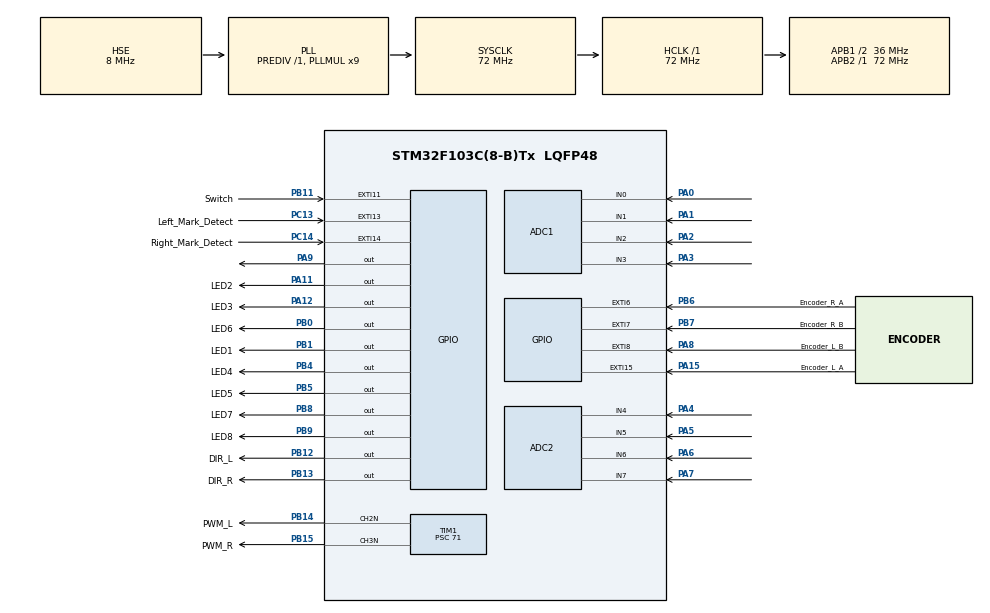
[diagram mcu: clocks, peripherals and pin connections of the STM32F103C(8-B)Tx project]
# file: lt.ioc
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ADC1.Channel-2\#ChannelRegularConversion=ADC_CHANNEL_0
ADC1.Channel-3\#ChannelRegularConversion=ADC_CHANNEL_1
ADC1.Channel-4\#ChannelRegularConversion=ADC_CHANNEL_2
ADC1.Channel-5\#ChannelRegularConversion=ADC_CHANNEL_3
ADC1.ContinuousConvMode=ENABLE
ADC1.InjNumberOfConversion=0
ADC1.Mode=ADC_DUALMODE_REGSIMULT
ADC1.NbrOfConversion=4
ADC1.NbrOfConversionFlag=1
ADC1.Rank-2\#ChannelRegularConversion=1
ADC1.Rank-3\#ChannelRegularConversion=2
ADC1.Rank-4\#ChannelRegularConversion=3
ADC1.Rank-5\#ChannelRegularConversion=4
ADC1.SamplingTime-2\#ChannelRegularConversion=ADC_SAMPLETIME_1CYCLE_5
ADC1.SamplingTime-3\#ChannelRegularConversion=ADC_SAMPLETIME_1CYCLE_5
ADC1.SamplingTime-4\#ChannelRegularConversion=ADC_SAMPLETIME_1CYCLE_5
ADC1.SamplingTime-5\#ChannelRegularConversion=ADC_SAMPLETIME_1CYCLE_5
ADC1.master=1
ADC2.Channel-4\#ChannelRegularConversion=ADC_CHANNEL_4
ADC2.Channel-5\#ChannelRegularConversion=ADC_CHANNEL_5
ADC2.Channel-6\#ChannelRegularConversion=ADC_CHANNEL_6
ADC2.Channel-7\#ChannelRegularConversion=ADC_CHANNEL_7
ADC2.ContinuousConvMode=ENABLE
ADC2.Mode=ADC_DUALMODE_REGSIMULT
ADC2.NbrOfConversion=4
ADC2.NbrOfConversionFlag=1
ADC2.Rank-4\#ChannelRegularConversion=1
ADC2.Rank-5\#ChannelRegularConversion=2
ADC2.Rank-6\#ChannelRegularConversion=3
ADC2.Rank-7\#ChannelRegularConversion=4
ADC2.SamplingTime-4\#ChannelRegularConversion=ADC_SAMPLETIME_1CYCLE_5
ADC2.SamplingTime-5\#ChannelRegularConversion=ADC_SAMPLETIME_1CYCLE_5
ADC2.SamplingTime-6\#ChannelRegularConversion=ADC_SAMPLETIME_1CYCLE_5
ADC2.SamplingTime-7\#ChannelRegularConversion=ADC_SAMPLETIME_1CYCLE_5
Dma.ADC1.0.Direction=DMA_PERIPH_TO_MEMORY
Dma.ADC1.0.Instance=DMA1_Channel1
Dma.ADC1.0.MemDataAlignment=DMA_MDATAALIGN_WORD
Dma.ADC1.0.MemInc=DMA_MINC_ENABLE
Dma.ADC1.0.Mode=DMA_CIRCULAR
Dma.ADC1.0.PeriphDataAlignment=DMA_PDATAALIGN_WORD
Dma.ADC1.0.PeriphInc=DMA_PINC_DISABLE
Dma.ADC1.0.Priority=DMA_PRIORITY_HIGH
Dma.Request0=ADC1
Mcu.Family=STM32F1
Mcu.Name=STM32F103C(8-B)Tx
Mcu.Package=LQFP48
NVIC.DMA1_Channel1_IRQn=true\:0\:0\:false\:false\:true\:false\:true
NVIC.EXTI15_10_IRQn=true\:0\:0\:false\:false\:true\:true\:true
NVIC.EXTI9_5_IRQn=true\:0\:0\:false\:false\:true\:true\:true
NVIC.PriorityGroup=NVIC_PRIORITYGROUP_4
NVIC.TIM1_UP_IRQn=true\:0\:0\:false\:false\:true\:true\:true
NVIC.TIM2_IRQn=true\:0\:0\:false\:false\:true\:true\:true
NVIC.TIM3_IRQn=true\:0\:0\:false\:false\:true\:true\:true
NVIC.TIM4_IRQn=true\:0\:0\:false\:false\:true\:true\:true
PA0-WKUP.Signal=ADCx_IN0
PA1.Signal=ADCx_IN1
PA11.GPIO_Label=LED2
PA11.GPIO_PuPd=GPIO_PULLUP
PA11.Signal=GPIO_Output
PA12.GPIO_Label=LED3
PA12.GPIO_PuPd=GPIO_PULLUP
PA12.Signal=GPIO_Output
PA13.GPIO_Label=ST-LINK_SWDIO
PA13.Mode=Trace_Asynchronous_SW
PA13.Signal=SYS_JTMS-SWDIO
PA14.GPIO_Label=ST-LINK_SWCLK
PA14.Mode=Trace_Asynchronous_SW
PA14.Signal=SYS_JTCK-SWCLK
PA15.GPIO_Label=Encoder_L_A
PA15.GPIO_ModeDefaultEXTI=GPIO_MODE_IT_RISING_FALLING
PA15.GPIO_PuPd=GPIO_PULLUP
PA15.Signal=GPXTI15
PA2.Signal=ADCx_IN2
PA3.Signal=ADCx_IN3
PA4.Signal=ADCx_IN4
PA5.Signal=ADCx_IN5
PA6.Signal=ADCx_IN6
PA7.Signal=ADCx_IN7
PA8.GPIO_Label=Encoder_L_B
PA8.GPIO_ModeDefaultEXTI=GPIO_MODE_IT_RISING_FALLING
PA8.GPIO_PuPd=GPIO_PULLUP
PA8.Signal=GPXTI8
PA9.Signal=GPIO_Output
PB0.GPIO_Label=LED6
PB0.GPIO_PuPd=GPIO_PULLUP
PB0.Signal=GPIO_Output
PB1.GPIO_Label=LED1
PB1.GPIO_PuPd=GPIO_PULLUP
PB1.Signal=GPIO_Output
PB11.GPIO_Label=Switch
PB11.GPIO_PuPd=GPIO_PULLDOWN
PB11.Signal=GPXTI11
PB12.GPIO_Label=DIR_L
PB12.GPIO_PuPd=GPIO_NOPULL
PB12.PinState=GPIO_PIN_RESET
PB12.Signal=GPIO_Output
PB13.GPIO_Label=DIR_R
PB13.GPIO_PuPd=GPIO_NOPULL
PB13.Signal=GPIO_Output
PB14.GPIO_Label=PWM_L
PB14.GPIO_Speed=GPIO_SPEED_FREQ_HIGH
PB14.Mode=PWM Generation2 CH2N
PB14.Signal=TIM1_CH2N
PB15.GPIO_Label=PWM_R
PB15.GPIO_Speed=GPIO_SPEED_FREQ_HIGH
PB15.Mode=PWM Generation3 CH3N
PB15.Signal=TIM1_CH3N
PB3.Mode=Trace_Asynchronous_SW
PB3.Signal=SYS_JTDO-TRACESWO
PB4.GPIO_Label=LED4
PB4.GPIO_PuPd=GPIO_PULLUP
PB4.Signal=GPIO_Output
PB5.GPIO_Label=LED5
PB5.GPIO_PuPd=GPIO_PULLUP
PB5.Signal=GPIO_Output
PB6.GPIO_Label=Encoder_R_A
PB6.GPIO_ModeDefaultEXTI=GPIO_MODE_IT_RISING_FALLING
PB6.GPIO_PuPd=GPIO_PULLUP
PB6.Signal=GPXTI6
PB7.GPIO_Label=Encoder_R_B
PB7.GPIO_ModeDefaultEXTI=GPIO_MODE_IT_RISING_FALLING
PB7.GPIO_PuPd=GPIO_PULLUP
PB7.Signal=GPXTI7
PB8.GPIO_Label=LED7
PB8.GPIO_PuPd=GPIO_PULLUP
PB8.Signal=GPIO_Output
PB9.GPIO_Label=LED8
PB9.GPIO_PuPd=GPIO_PULLUP
PB9.Signal=GPIO_Output
PC13-TAMPER-RTC.GPIO_Label=Left_Mark_Detect
PC13-TAMPER-RTC.GPIO_PuPd=GPIO_PULLDOWN
PC13-TAMPER-RTC.Signal=GPXTI13
PC14-OSC32_IN.GPIO_Label=Right_Mark_Detect
PC14-OSC32_IN.GPIO_PuPd=GPIO_PULLDOWN
PC14-OSC32_IN.Signal=GPXTI14
PD0-OSC_IN.Mode=HSE-External-Oscillator
PD0-OSC_IN.Signal=RCC_OSC_IN
PD1-OSC_OUT.Mode=HSE-External-Oscillator
PD1-OSC_OUT.Signal=RCC_OSC_OUT
ProjectManager.HeapSize=0x200
ProjectManager.StackSize=0x400
ProjectManager.TargetToolchain=EWARM V8
RCC.ADCPresc=RCC_ADCPCLK2_DIV6
RCC.AHBFreq_Value=72000000
RCC.APB1CLKDivider=RCC_HCLK_DIV2
RCC.APB1Freq_Value=36000000
RCC.APB1TimFreq_Value=72000000
RCC.APB2Freq_Value=72000000
RCC.APB2TimFreq_Value=72000000
RCC.HCLKFreq_Value=72000000
RCC.PLLMUL=RCC_PLL_MUL9
RCC.PLLSourceVirtual=RCC_PLLSOURCE_HSE
RCC.SYSCLKFreq_VALUE=72000000
RCC.SYSCLKSource=RCC_SYSCLKSOURCE_PLLCLK
RCC.USBFreq_Value=72000000
SH.ADCx_IN0.0=ADC1_IN0,IN0
SH.ADCx_IN1.0=ADC1_IN1,IN1
SH.ADCx_IN2.0=ADC1_IN2,IN2
SH.ADCx_IN3.0=ADC1_IN3,IN3
SH.ADCx_IN4.0=ADC2_IN4,IN4
SH.ADCx_IN5.0=ADC2_IN5,IN5
SH.ADCx_IN6.0=ADC2_IN6,IN6
SH.ADCx_IN7.0=ADC2_IN7,IN7
TIM1.Channel-PWM\ Generation2\ CH2N=TIM_CHANNEL_2
TIM1.Channel-PWM\ Generation3\ CH3N=TIM_CHANNEL_3
TIM1.Period=999
TIM1.Prescaler=71
TIM1.Pulse-PWM\ Generation2\ CH2N=499
TIM1.Pulse-PWM\ Generation3\ CH3N=499
TIM2.Channel-Output\ Compare1\ No\ Output=TIM_CHANNEL_1
TIM2.Period=9999
TIM2.Prescaler=71
TIM3.Channel-Output\ Compare1\ No\ Output=TIM_CHANNEL_1
TIM3.Period=9999
TIM3.Prescaler=71
TIM4.Channel-Output\ Compare1\ No\ Output=TIM_CHANNEL_1
TIM4.Period=999
TIM4.Prescaler=71
VP_TIM2_VS_no_output1.Mode=Output Compare1 No Output
VP_TIM3_VS_no_output1.Mode=Output Compare1 No Output
VP_TIM4_VS_no_output1.Mode=Output Compare1 No Output
board=custom

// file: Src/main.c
/* USER CODE BEGIN Header */
/**
  ******************************************************************************
  * @file           : main.c
  * @brief          : Main program body
  ******************************************************************************
  * @attention
  *
  * <h2><center>&copy; Copyright (c) 2019 STMicroelectronics.
  * All rights reserved.</center></h2>
  *
  * This software component is licensed by ST under BSD 3-Clause license,
  * the "License"; You may not use this file except in compliance with the
  * License. You may obtain a copy of the License at:
  *                        opensource.org/licenses/BSD-3-Clause
  *
  ******************************************************************************
  */
/* USER CODE END Header */

#include "main.h"
#include "adc.h"
#include "dma.h"
#include "tim.h"
#include "gpio.h"

/* USER CODE BEGIN Includes */
#include "sensor.h"
#include "PID.h"
/* USER CODE END Includes */

/* USER CODE BEGIN PD */

//#define asdf Left_mark_flag == 1 && Right_mark_flag == 0

/* USER CODE END PD */

/* USER CODE BEGIN PV */
//피비
int Stop_Count = 0;
int Left_mark_flag = 0 , Right_mark_flag = 0;

int Buzzer_Count = 500;
int temp1, temp2;
float Past_Val = 0;

/* USER CODE END PV */

void SystemClock_Config(void);
/* USER CODE BEGIN PFP */
//피비피
void HAL_GPIO_EXTI_Callback(uint16_t GPIO_Pin);
void HAL_TIM_PeriodElapsedCallback(TIM_HandleTypeDef *htim);

void Catch_Stop(void);

/* USER CODE END PFP */

int main(void)
{
  /* USER CODE BEGIN 1 */
  //메인
  /* USER CODE END 1 */

  /* MCU Configuration--------------------------------------------------------*/

  /* Reset of all peripherals, Initializes the Flash interface and the Systick. */
  HAL_Init();

  /* Configure the system clock */
  SystemClock_Config();

  /* Initialize all configured peripherals */
  MX_GPIO_Init();
  MX_DMA_Init();
  MX_ADC1_Init();
  MX_TIM1_Init();
  MX_ADC2_Init();
  MX_TIM2_Init();
  MX_TIM3_Init();
  MX_TIM4_Init();
  /* USER CODE BEGIN 2 */

  HAL_TIM_Base_Start(&htim1);//Start TIM1 for PWM

  HAL_TIMEx_PWMN_Start(&htim1, TIM_CHANNEL_2);//PWM_L 시작
  HAL_TIMEx_PWMN_Start(&htim1, TIM_CHANNEL_3);//PWM_R 시작

  HAL_TIM_Base_Start_IT(&htim1) ; //TIMER IT for SENSOR_PID
  HAL_TIM_Base_Start_IT(&htim2) ;//TIMER IT for MT_method_L
  HAL_TIM_Base_Start_IT(&htim3) ;//TIMER IT for MT_method_R
  HAL_TIM_Base_Start_IT(&htim4) ;//TIMER IT for MOTOR_PID

  HAL_GPIO_WritePin(GPIOB, GPIO_PIN_12, GPIO_PIN_SET); //DIR_L = 1
  HAL_GPIO_WritePin(GPIOB, GPIO_PIN_13, GPIO_PIN_SET); //DIR_R = 1

  __HAL_TIM_SET_COMPARE(&htim1, TIM_CHANNEL_2, 0); //PWM_L 수정
  __HAL_TIM_SET_COMPARE(&htim1, TIM_CHANNEL_3, 0); //PWM_R 수정

  /* USER CODE END 2 */

  /* Infinite loop */
  /* USER CODE BEGIN WHILE */
  while (1) //와일
  {
    if(count == 0)
    {
      ADC_Conversion();
      for(i = 0; i<Number_of_sensors;i++)
        ADC_Black[i] = ADC_Value_Con[i];
    }
    else if(count == 1)
    {
      for(num = 0; num < 500; num++)
      {
        ADC_Conversion();
        HAL_Delay(1);
        ADC_Set_White();
        ADC_Set_Black();
      }
      ADC_Set_Offset();
      count++;
      HAL_GPIO_WritePin(GPIOA, GPIO_PIN_11, GPIO_PIN_SET);
      HAL_Delay(100);
      HAL_GPIO_WritePin(GPIOA, GPIO_PIN_11, GPIO_PIN_RESET);
    }

    else if(count == 3 || count == 4)
    {
      ADC_Conversion();
      SENSOR_Binarizing(Left_mark_flag, Right_mark_flag);
      Led_On();
      Catch_Stop();
    }

    else if(count ==5)
    {
      count =3 ;
    }

    /* USER CODE END WHILE */

  }
}

void SystemClock_Config(void)
{
  RCC_OscInitTypeDef RCC_OscInitStruct = {0};
  RCC_ClkInitTypeDef RCC_ClkInitStruct = {0};
  RCC_PeriphCLKInitTypeDef PeriphClkInit = {0};

  /** Initializes the CPU, AHB and APB busses clocks
  */
  RCC_OscInitStruct.OscillatorType = RCC_OSCILLATORTYPE_HSE;
  RCC_OscInitStruct.HSEState = RCC_HSE_ON;
  RCC_OscInitStruct.HSEPredivValue = RCC_HSE_PREDIV_DIV1;
  RCC_OscInitStruct.HSIState = RCC_HSI_ON;
  RCC_OscInitStruct.PLL.PLLState = RCC_PLL_ON;
  RCC_OscInitStruct.PLL.PLLSource = RCC_PLLSOURCE_HSE;
  RCC_OscInitStruct.PLL.PLLMUL = RCC_PLL_MUL9;
  if (HAL_RCC_OscConfig(&RCC_OscInitStruct) != HAL_OK)
  {
    Error_Handler();
  }
  /** Initializes the CPU, AHB and APB busses clocks
  */
  RCC_ClkInitStruct.ClockType = RCC_CLOCKTYPE_HCLK|RCC_CLOCKTYPE_SYSCLK
                              |RCC_CLOCKTYPE_PCLK1|RCC_CLOCKTYPE_PCLK2;
  RCC_ClkInitStruct.SYSCLKSource = RCC_SYSCLKSOURCE_PLLCLK;
  RCC_ClkInitStruct.AHBCLKDivider = RCC_SYSCLK_DIV1;
  RCC_ClkInitStruct.APB1CLKDivider = RCC_HCLK_DIV2;
  RCC_ClkInitStruct.APB2CLKDivider = RCC_HCLK_DIV1;

  if (HAL_RCC_ClockConfig(&RCC_ClkInitStruct, FLASH_LATENCY_2) != HAL_OK)
  {
    Error_Handler();
  }
  PeriphClkInit.PeriphClockSelection = RCC_PERIPHCLK_ADC;
  PeriphClkInit.AdcClockSelection = RCC_ADCPCLK2_DIV6;
  if (HAL_RCCEx_PeriphCLKConfig(&PeriphClkInit) != HAL_OK)
  {
    Error_Handler();
  }
}

/* USER CODE BEGIN 4 */

void Catch_Stop(void)
{
  // 정지 마크 검출
  if(Left_mark_flag == 1 && Right_mark_flag == 1)
  {
    if(Cross_Count == 0)
    {
      Stop_Count++;
      Left_mark_flag = 0;
      Right_mark_flag  = 0;
    }
    else
    {
      Cross_Count = 0;
      Left_mark_flag = 0;
      Right_mark_flag  = 0;
    }
  }
}

void HAL_GPIO_EXTI_Callback(uint16_t GPIO_Pin) //외인
{
/*EXTERNAL_INTERRUPT_BEGIN*/

  /*LEFT MARK CHECKING BEGIN*/
  if (GPIO_Pin == GPIO_PIN_13)
  {
    if(Left_mark_flag == 0)
    {
       if(Buzzer_Count < 100)
      {
        Left_mark_flag = 1;
      }

      else
      {
        Left_mark_flag = 1;
        Right_mark_flag = 0;
      }
    }
    else Left_mark_flag = 0;

      Buzzer_Count = 0;
  }
  /*LEFT MARK CHECKING END*/

  /*RIGHT MARK CHECKING BEGIN*/
  if (GPIO_Pin == GPIO_PIN_14)
  {
    if(Right_mark_flag == 0)
    {
      if(Buzzer_Count < 100)
      {
        Right_mark_flag = 1;
      }

      else
      {
        Right_mark_flag = 1;
        Left_mark_flag = 0;
      }
    }

    else Right_mark_flag = 0;

      Buzzer_Count = 0;
  }
  /*RIGHT MARK CHECKING END*/

  if (GPIO_Pin == GPIO_PIN_11)
  {
    count++;
  }

/*EXTERNAL_INTERRUPT_END*/
}

void HAL_TIM_PeriodElapsedCallback(TIM_HandleTypeDef *htim) //타인
{
/*TIMER_INTERRUPT_BEGIN*/
  if(htim -> Instance == TIM1) //Sensor_PID
  {
    if(count == 3)
    {
      if(Stop_Count != 2)
      {
        if(Left_mark_flag == 1)
        {
          Kp = 60;
          SENSOR_PID(410,900);
        }

        else if(Right_mark_flag == 1)
          {
            Kp = 60;
            SENSOR_PID(910,400);
          }

        else
        {
          /*if(Error != 0)
          {
            if(Buzzer_Count > 40)
            {
              Ki = 0.000;
              SENSOR_PID(815 , 800);
            }
          }

          else
          {
             Ki = 0.000;
             SENSOR_PID(815 , 800);
          }

          I = 0;
        }*/
          if(Buzzer_Count > 40)
            {
              Ki = 0.000;
              I = 0;
              SENSOR_PID(815 , 800);
            }
        }
      }

      else if(Stop_Count == 2)
      {
        if(Buzzer_Count > 150)
        {
          __HAL_TIM_SET_COMPARE(&htim1, TIM_CHANNEL_2, 0);
          __HAL_TIM_SET_COMPARE(&htim1, TIM_CHANNEL_3, 0);
        }
        else
          SENSOR_PID(815 , 800);
      }
    }

     else if(count == 4)
    {
      __HAL_TIM_SET_COMPARE(&htim1, TIM_CHANNEL_2, 0); //PWM_L 수정
      __HAL_TIM_SET_COMPARE(&htim1, TIM_CHANNEL_3, 0); //PWM_R 수정
      Left_mark_flag = 0;
      Right_mark_flag = 0;
      Stop_Count = 0;
    }

     if(Buzzer_Count < 250){
      Buzzer_Count++;
      HAL_GPIO_WritePin(GPIOA, GPIO_PIN_9, GPIO_PIN_SET);
    }
    else HAL_GPIO_WritePin(GPIOA, GPIO_PIN_9, GPIO_PIN_RESET);

  }

/*TIMER_INTERRUPT_END*/
}

/* USER CODE END 4 */

void Error_Handler(void)
{
}

/************************ (C) COPYRIGHT STMicroelectronics *****END OF FILE****/
